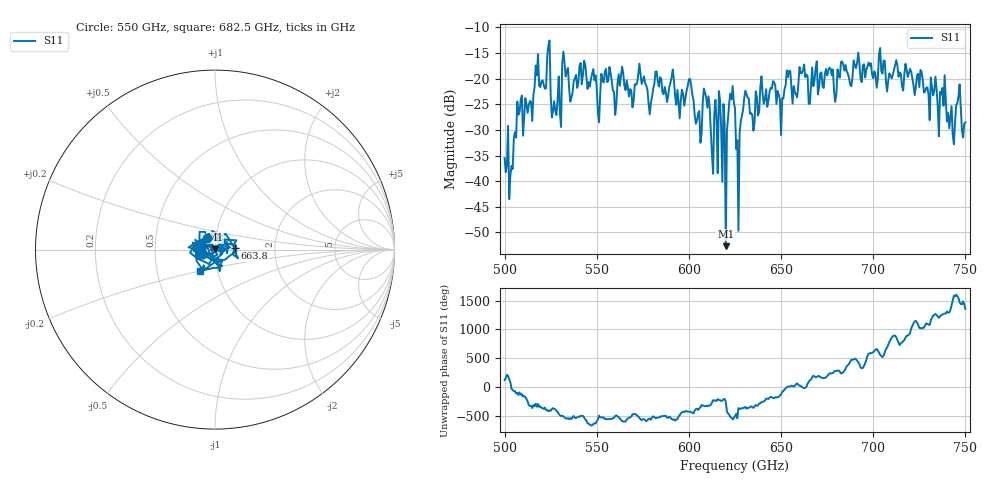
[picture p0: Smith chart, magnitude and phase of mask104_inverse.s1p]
!Created with skrf (http://scikit-rf.org).
# GHz S MA R 50.0
!freq magS11 angS11
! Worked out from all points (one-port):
!   401 points, 500 GHz to 750 GHz, reference 50 ohm
!   lowest |S11| = -52.7 dB at 620 GHz (marker M1), VSWR 1.00, Z = 50 + j0.227 ohm
!   |S11| at or under -10 dB: start of sweep to end of sweep
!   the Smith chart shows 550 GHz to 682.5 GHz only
!   S11 on the Smith chart (normalised r, x): 550 GHz: 0.90, +0.12; 663.8 GHz: 1.25, +0.02; 682.5 GHz: 0.82, -0.20
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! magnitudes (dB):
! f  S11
! 500 GHz  -35.5
! 503.8 GHz  -37.0
! 508.1 GHz  -26.5
! 513.8 GHz  -24.3
! 517.5 GHz  -19.4
! 523.8 GHz  -13.6
! 526.9 GHz  -24.4
! 531.2 GHz  -17.1
! 550 GHz  -21.8
! 562.5 GHz  -21.4
! 593.8 GHz  -22.2
! 600.6 GHz  -20.1
! 605.6 GHz  -26.3
! 609.4 GHz  -23.6
! 612.5 GHz  -34.7
! 615.6 GHz  -38.5
! 620 GHz  -52.7
! 622.5 GHz  -22.9
! 625 GHz  -25.8
! 626.9 GHz  -49.7
! 631.2 GHz  -23.0
! 634.4 GHz  -27.1
! 656.2 GHz  -24.9
! 663.8 GHz  -19.2
! 682.5 GHz  -16.7
! 687.5 GHz  -21.2
! 718.8 GHz  -19.7
! 750 GHz  -28.5
